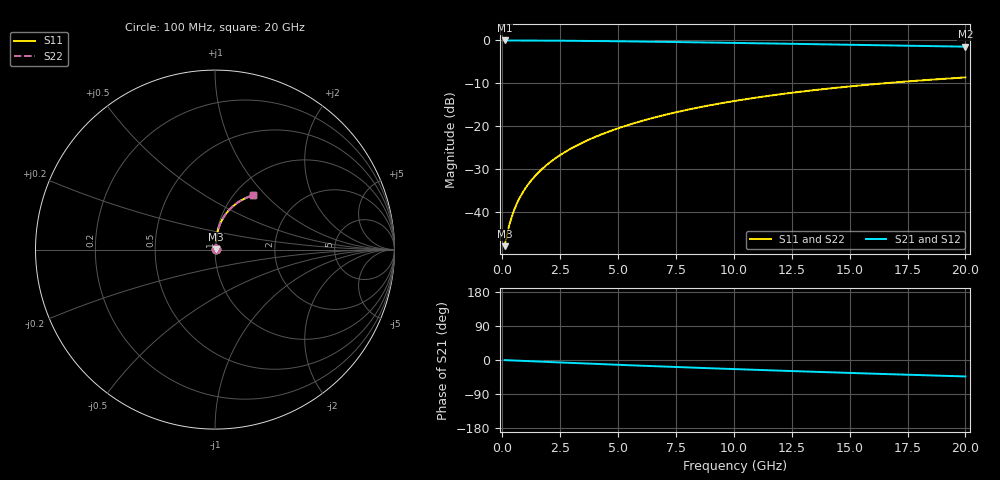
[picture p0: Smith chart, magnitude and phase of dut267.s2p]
! Touchstone file exported from HFSS 2024.1.0
!  File:  C:/UserFiles/LocalFiles/RDL_TSV_Batchsim/temp_RDL_bottom_267_1778702393.aedt
!  Generated:  04:02:36 AM May 14, 2026
!  Design:  RDL_bottom
!  Project:  temp_RDL_bottom_267_1778702393
!  Setup:  Setup1
!  Solution:  Sweep
! Variables:
!  dtsv = 10.80580581um
!  hbump = 3um
!  htsv = 77.64um
!  ldown = 632.66um
!  lrdl = 100um
!  p = 40
!  p1 = 46.57um
!  rhole = 1um
!  t = 450um
!  tdown = 3.14um
!  trdl = 3.915915916um
!  wdown = 22.06um
!  wrdl = 20um
# GHz S MA R 50.000000
! Terminal data exported
! Port[1] = RDL1_T1
! Port[2] = RDL1_T2
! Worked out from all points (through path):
!   200 points, 100 MHz to 20 GHz, reference 50 ohm
!   highest |S21| = -0.03 dB at 100 MHz (marker M1); lowest = -1.5 dB at 20 GHz (marker M2)
!   group delay of S21, straight-line fit = 5.99 ps
!   lowest |S11| = -47.9 dB at 100 MHz (marker M3), VSWR 1.01, Z = 50.3 + j0.207 ohm
!   |S11| at or under -10 dB: start of sweep to 16.5 GHz
!   |S22| runs from -47.9 to -8.6 dB; largest |S21 - S12| = 2.5e-15
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0.1  0.004017 30.7  0.9965 -0.3  0.9965 -0.3  0.004017 30.7
! Gamma 0 0 0 0
! Port Impedance 50 0 50 0
0.2  0.005412 48.2  0.9964 -0.5  0.9964 -0.5  0.005412 48.2
0.3  0.007035 57.4  0.9961 -0.8  0.9961 -0.8  0.007035 57.4
0.4  0.008706 63.0  0.9959 -1.1  0.9959 -1.1  0.008706 63.0
0.5  0.01039 66.8  0.9957 -1.3  0.9957 -1.3  0.01039 66.8
0.6  0.01208 69.6  0.9955 -1.6  0.9955 -1.6  0.01208 69.6
0.8  0.01551 73.5  0.9951 -2.1  0.9951 -2.1  0.01551 73.5
1.1  0.02074 77.1  0.9945 -2.9  0.9945 -2.9  0.02074 77.1
1.3  0.02429 78.7  0.994 -3.4  0.994 -3.4  0.02429 78.7
1.6  0.02967 80.3  0.9932 -4.2  0.9932 -4.2  0.02967 80.3
2.1  0.03878 81.8  0.9915 -5.5  0.9915 -5.5  0.03878 81.8
2.7  0.04992 82.7  0.989 -7.0  0.989 -7.0  0.04992 82.7
3.5  0.06512 83.0  0.9849 -9.0  0.9849 -9.0  0.06512 83.0
4.2  0.07871 82.8  0.9807 -10.7  0.9807 -10.7  0.07872 82.8
5  0.09455 82.2  0.9752 -12.7  0.9752 -12.7  0.09456 82.2
6.8  0.131 79.9  0.9614 -16.9  0.9614 -16.9  0.131 79.9
8.4  0.1638 77.2  0.9478 -20.5  0.9478 -20.5  0.1638 77.2
10.1  0.1982 74.0  0.9328 -24.2  0.9328 -24.2  0.1982 74.1
11.7  0.2297 70.9  0.9184 -27.5  0.9184 -27.5  0.2298 70.9
13.4  0.2619 67.5  0.9029 -31.0  0.9029 -31.0  0.262 67.5
16.7  0.3195 61.0  0.873 -37.4  0.873 -37.4  0.3196 61.0
20  0.3701 54.8  0.8438 -43.4  0.8438 -43.4  0.3701 54.8
